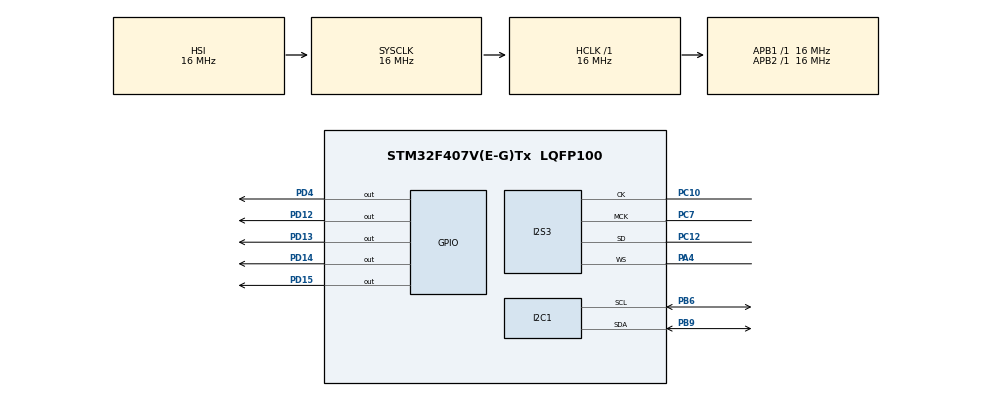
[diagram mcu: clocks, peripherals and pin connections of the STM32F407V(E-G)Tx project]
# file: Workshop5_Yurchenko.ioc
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Dma.Request0=SPI3_TX
Dma.SPI3_TX.0.Direction=DMA_MEMORY_TO_PERIPH
Dma.SPI3_TX.0.FIFOMode=DMA_FIFOMODE_ENABLE
Dma.SPI3_TX.0.FIFOThreshold=DMA_FIFO_THRESHOLD_FULL
Dma.SPI3_TX.0.Instance=DMA1_Stream5
Dma.SPI3_TX.0.MemBurst=DMA_MBURST_SINGLE
Dma.SPI3_TX.0.MemDataAlignment=DMA_MDATAALIGN_HALFWORD
Dma.SPI3_TX.0.MemInc=DMA_MINC_ENABLE
Dma.SPI3_TX.0.Mode=DMA_CIRCULAR
Dma.SPI3_TX.0.PeriphBurst=DMA_PBURST_SINGLE
Dma.SPI3_TX.0.PeriphDataAlignment=DMA_PDATAALIGN_HALFWORD
Dma.SPI3_TX.0.PeriphInc=DMA_PINC_DISABLE
Dma.SPI3_TX.0.Priority=DMA_PRIORITY_LOW
I2S3.AudioFreq=I2S_AUDIOFREQ_48K
I2S3.ErrorAudioFreq=-2.34 %
I2S3.FullDuplexMode=I2S_FULLDUPLEXMODE_DISABLE
I2S3.Instance=SPI$Index
I2S3.RealAudioFreq=46.875 KHz
I2S3.VirtualMode=I2S_MODE_MASTER
Mcu.Family=STM32F4
Mcu.Name=STM32F407V(E-G)Tx
Mcu.Package=LQFP100
NVIC.DMA1_Stream5_IRQn=true\:0\:0\:false\:false\:true\:false\:true\:true
NVIC.PriorityGroup=NVIC_PRIORITYGROUP_4
PA4.Mode=Half_Duplex_Master
PA4.Signal=I2S3_WS
PB6.Mode=I2C
PB6.Signal=I2C1_SCL
PB9.Mode=I2C
PB9.Signal=I2C1_SDA
PC10.Mode=Half_Duplex_Master
PC10.Signal=I2S3_CK
PC12.Mode=Half_Duplex_Master
PC12.Signal=I2S3_SD
PC7.Mode=Master_Clock_Activated
PC7.Signal=I2S3_MCK
PD12.Signal=GPIO_Output
PD13.Signal=GPIO_Output
PD14.Signal=GPIO_Output
PD15.Signal=GPIO_Output
PD4.Signal=GPIO_Output
ProjectManager.HeapSize=0x200
ProjectManager.StackSize=0x400
ProjectManager.TargetToolchain=STM32CubeIDE
RCC.AHBFreq_Value=16000000
RCC.APB1Freq_Value=16000000
RCC.APB2Freq_Value=16000000
RCC.CortexFreq_Value=16000000
RCC.HSE_VALUE=25000000
RCC.HSI_VALUE=16000000
RCC.LSE_VALUE=32768
RCC.SYSCLKFreq_VALUE=16000000
RCC.VCOOutputFreq_Value=192000000
board=custom

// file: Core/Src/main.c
/* USER CODE BEGIN Header */
/**
  ******************************************************************************
  * @file           : main.c
  * @brief          : Main program body
  ******************************************************************************
  * @attention
  *
  * Copyright (c) 2025 STMicroelectronics.
  * All rights reserved.
  *
  * This software is licensed under terms that can be found in the LICENSE file
  * in the root directory of this software component.
  * If no LICENSE file comes with this software, it is provided AS-IS.
  *
  ******************************************************************************
  */
  /* USER CODE END Header */
  /* Includes ------------------------------------------------------------------*/
#include "main.h"

/* USER CODE BEGIN PTD */
typedef enum
{
	C4,
	G4,
	MAX_VALUE
} soundToneType;

/* USER CODE END PTD */

/* USER CODE BEGIN PD */
#define CS43L22_I2C_ADDRESS		0x94
#define I2C_TIMEOUT				10
#define DOT_DURATION 200
#define DASH_DURATION (3 * DOT_DURATION)
#define SYMBOL_PAUSE DOT_DURATION
#define LETTER_PAUSE (3 * DOT_DURATION)
#define WORD_PAUSE (7 * DOT_DURATION)
/* USER CODE END PD */

I2C_HandleTypeDef hi2c1;

I2S_HandleTypeDef hi2s3;
DMA_HandleTypeDef hdma_spi3_tx;

/* USER CODE BEGIN PV */
int16_t dataI2S[100] = { 0 };
/* USER CODE END PV */

void SystemClock_Config(void);
static void MX_GPIO_Init(void);
static void MX_DMA_Init(void);
static void MX_I2C1_Init(void);
static void MX_I2S3_Init(void);

/* USER CODE BEGIN 0 */
void CS43L22_Init(void)
{
	// Enable chip
	HAL_GPIO_WritePin(GPIOD, GPIO_PIN_4, GPIO_PIN_SET);

	//
	// Initialization
	//
	uint8_t TxBuffer[2];

	TxBuffer[0] = 0x0D;
	TxBuffer[1] = 0x01;
	HAL_I2C_Master_Transmit(&hi2c1, CS43L22_I2C_ADDRESS, (uint8_t*)&TxBuffer, 2, I2C_TIMEOUT);

	TxBuffer[0] = 0x00;
	TxBuffer[1] = 0x99;
	HAL_I2C_Master_Transmit(&hi2c1, CS43L22_I2C_ADDRESS, (uint8_t*)&TxBuffer, 2, I2C_TIMEOUT);

	TxBuffer[0] = 0x47;
	TxBuffer[1] = 0x80;
	HAL_I2C_Master_Transmit(&hi2c1, CS43L22_I2C_ADDRESS, (uint8_t*)&TxBuffer, 2, I2C_TIMEOUT);

	TxBuffer[0] = 0x32;
	TxBuffer[1] = 0xFF;
	HAL_I2C_Master_Transmit(&hi2c1, CS43L22_I2C_ADDRESS, (uint8_t*)&TxBuffer, 2, I2C_TIMEOUT);

	TxBuffer[0] = 0x32;
	TxBuffer[1] = 0x7F;
	HAL_I2C_Master_Transmit(&hi2c1, CS43L22_I2C_ADDRESS, (uint8_t*)&TxBuffer, 2, I2C_TIMEOUT);

	TxBuffer[0] = 0x00;
	TxBuffer[1] = 0x00;
	HAL_I2C_Master_Transmit(&hi2c1, CS43L22_I2C_ADDRESS, (uint8_t*)&TxBuffer, 2, I2C_TIMEOUT);

	TxBuffer[0] = 0x04;
	TxBuffer[1] = 0xAF;
	HAL_I2C_Master_Transmit(&hi2c1, CS43L22_I2C_ADDRESS, (uint8_t*)&TxBuffer, 2, I2C_TIMEOUT);

	TxBuffer[0] = 0x0D;
	TxBuffer[1] = 0x70;
	HAL_I2C_Master_Transmit(&hi2c1, CS43L22_I2C_ADDRESS, (uint8_t*)&TxBuffer, 2, I2C_TIMEOUT);

	TxBuffer[0] = 0x05;
	TxBuffer[1] = 0x81;
	HAL_I2C_Master_Transmit(&hi2c1, CS43L22_I2C_ADDRESS, (uint8_t*)&TxBuffer, 2, I2C_TIMEOUT);

	TxBuffer[0] = 0x06;
	TxBuffer[1] = 0x07;
	HAL_I2C_Master_Transmit(&hi2c1, CS43L22_I2C_ADDRESS, (uint8_t*)&TxBuffer, 2, I2C_TIMEOUT);

	TxBuffer[0] = 0x0A;
	TxBuffer[1] = 0x00;
	HAL_I2C_Master_Transmit(&hi2c1, CS43L22_I2C_ADDRESS, (uint8_t*)&TxBuffer, 2, I2C_TIMEOUT);

	TxBuffer[0] = 0x27;
	TxBuffer[1] = 0x00;
	HAL_I2C_Master_Transmit(&hi2c1, CS43L22_I2C_ADDRESS, (uint8_t*)&TxBuffer, 2, I2C_TIMEOUT);

	TxBuffer[0] = 0x1A;
	TxBuffer[1] = 0x0A;
	HAL_I2C_Master_Transmit(&hi2c1, CS43L22_I2C_ADDRESS, (uint8_t*)&TxBuffer, 2, I2C_TIMEOUT);

	TxBuffer[0] = 0x1B;
	TxBuffer[1] = 0x0A;
	HAL_I2C_Master_Transmit(&hi2c1, CS43L22_I2C_ADDRESS, (uint8_t*)&TxBuffer, 2, I2C_TIMEOUT);

	TxBuffer[0] = 0x1F;
	TxBuffer[1] = 0x0F;
	HAL_I2C_Master_Transmit(&hi2c1, CS43L22_I2C_ADDRESS, (uint8_t*)&TxBuffer, 2, I2C_TIMEOUT);

	TxBuffer[0] = 0x02;
	TxBuffer[1] = 0x9E;
	HAL_I2C_Master_Transmit(&hi2c1, CS43L22_I2C_ADDRESS, (uint8_t*)&TxBuffer, 2, I2C_TIMEOUT);
}

void CS43L22_Beep(soundToneType pitch, uint32_t duration_ms)
{
	uint8_t TxBuffer[2];

	// Set volume and off time
	TxBuffer[0] = 0x1D;		// Register address
	TxBuffer[1] = 0x00;		// Value (volume and off time)
	HAL_I2C_Master_Transmit(&hi2c1, CS43L22_I2C_ADDRESS, (uint8_t*)&TxBuffer, 2, I2C_TIMEOUT);

	// Set sound frequency
	TxBuffer[0] = 0x1C;		// Register address
	switch (pitch)
	{
	case C4:  TxBuffer[1] = 0x10; break;
	case G4:  TxBuffer[1] = 0x50; break;
	default:  TxBuffer[1] = 0x10; break;
	}

	HAL_I2C_Master_Transmit(&hi2c1, CS43L22_I2C_ADDRESS, (uint8_t*)&TxBuffer, 2, I2C_TIMEOUT);

	// Enable continuous mode (SOUND STARTED)
	TxBuffer[0] = 0x1E;		// Register address
	TxBuffer[1] = 0xC0;		// Value (beep and tone configuration)
	HAL_I2C_Master_Transmit(&hi2c1, CS43L22_I2C_ADDRESS, (uint8_t*)&TxBuffer, 2, I2C_TIMEOUT);

	// Playing...
	HAL_Delay(duration_ms);

	// Disable continuous mode (SOUND STOPED)
	TxBuffer[0] = 0x1E;		// Register address
	TxBuffer[1] = 0x00;		// Value (beep and tone configuration)
	HAL_I2C_Master_Transmit(&hi2c1, CS43L22_I2C_ADDRESS, (uint8_t*)&TxBuffer, 2, I2C_TIMEOUT);
}
/* USER CODE END 0 */

int main(void)
{

	/* MCU Configuration--------------------------------------------------------*/

	/* Reset of all peripherals, Initializes the Flash interface and the Systick. */
	HAL_Init();

	/* Configure the system clock */
	SystemClock_Config();

	/* Initialize all configured peripherals */
	MX_GPIO_Init();
	MX_DMA_Init();
	MX_I2C1_Init();
	MX_I2S3_Init();
	/* USER CODE BEGIN 2 */

	// Init DAC
	CS43L22_Init();
	// Transmit empty data
	HAL_I2S_Transmit_DMA(&hi2s3, (uint16_t*)dataI2S, 100);
	/* USER CODE END 2 */

	/* Infinite loop */
	/* USER CODE BEGIN WHILE */
	void playDot() {
	    HAL_GPIO_WritePin(GPIOD, GPIO_PIN_12, GPIO_PIN_SET);
	    CS43L22_Beep(G4, DOT_DURATION);
	    HAL_GPIO_WritePin(GPIOD, GPIO_PIN_12, GPIO_PIN_RESET);
	    HAL_Delay(SYMBOL_PAUSE);
	}

	void playDash() {
	    HAL_GPIO_WritePin(GPIOD, GPIO_PIN_15, GPIO_PIN_SET);
	    CS43L22_Beep(C4, DASH_DURATION);
	    HAL_GPIO_WritePin(GPIOD, GPIO_PIN_15, GPIO_PIN_RESET);
	    HAL_Delay(SYMBOL_PAUSE);
	}

	void playMorseChar(const char* pattern) {
	    for (int i = 0; pattern[i] != '\0'; i++) {
	        if (pattern[i] == '.') {
	            playDot();
	        }
	        else if (pattern[i] == '-') {
	            playDash();
	        }
	    }
	    HAL_Delay(LETTER_PAUSE - SYMBOL_PAUSE);
	}

	void playMorseMessage() {
	    // H E L L O / W O R L D !
	    playMorseChar("...."); // H
	    playMorseChar(".");    // E
	    playMorseChar(".-.."); // L
	    playMorseChar(".-.."); // L
	    playMorseChar("---");  // O

	    HAL_Delay(WORD_PAUSE - LETTER_PAUSE);

	    playMorseChar(".--");  // W
	    playMorseChar("---");  // O
	    playMorseChar(".-.");  // R
	    playMorseChar(".-.."); // L
	    playMorseChar("-..");  // D
	    playMorseChar("-.-.--"); // !
	}

	while (1)
	{
		/* USER CODE END WHILE */
		playMorseMessage();
		while (1) {}
	}
}

void SystemClock_Config(void)
{
	RCC_OscInitTypeDef RCC_OscInitStruct = { 0 };
	RCC_ClkInitTypeDef RCC_ClkInitStruct = { 0 };

	/** Macro to configure the PLL multiplication factor
	*/
	__HAL_RCC_PLL_PLLM_CONFIG(16);

	/** Macro to configure the PLL clock source
	*/
	__HAL_RCC_PLL_PLLSOURCE_CONFIG(RCC_PLLSOURCE_HSI);

	/** Configure the main internal regulator output voltage
	*/
	__HAL_RCC_PWR_CLK_ENABLE();
	__HAL_PWR_VOLTAGESCALING_CONFIG(PWR_REGULATOR_VOLTAGE_SCALE1);

	/** Initializes the RCC Oscillators according to the specified parameters
	* in the RCC_OscInitTypeDef structure.
	*/
	RCC_OscInitStruct.OscillatorType = RCC_OSCILLATORTYPE_HSI;
	RCC_OscInitStruct.HSIState = RCC_HSI_ON;
	RCC_OscInitStruct.HSICalibrationValue = RCC_HSICALIBRATION_DEFAULT;
	RCC_OscInitStruct.PLL.PLLState = RCC_PLL_NONE;
	RCC_OscInitStruct.PLL.PLLSource = RCC_PLLSOURCE_HSI;
	if (HAL_RCC_OscConfig(&RCC_OscInitStruct) != HAL_OK)
	{
		Error_Handler();
	}

	/** Initializes the CPU, AHB and APB buses clocks
	*/
	RCC_ClkInitStruct.ClockType = RCC_CLOCKTYPE_HCLK | RCC_CLOCKTYPE_SYSCLK
		| RCC_CLOCKTYPE_PCLK1 | RCC_CLOCKTYPE_PCLK2;
	RCC_ClkInitStruct.SYSCLKSource = RCC_SYSCLKSOURCE_HSI;
	RCC_ClkInitStruct.AHBCLKDivider = RCC_SYSCLK_DIV1;
	RCC_ClkInitStruct.APB1CLKDivider = RCC_HCLK_DIV1;
	RCC_ClkInitStruct.APB2CLKDivider = RCC_HCLK_DIV1;

	if (HAL_RCC_ClockConfig(&RCC_ClkInitStruct, FLASH_LATENCY_0) != HAL_OK)
	{
		Error_Handler();
	}
}

static void MX_I2C1_Init(void)
{

	hi2c1.Instance = I2C1;
	hi2c1.Init.ClockSpeed = 100000;
	hi2c1.Init.DutyCycle = I2C_DUTYCYCLE_2;
	hi2c1.Init.OwnAddress1 = 0;
	hi2c1.Init.AddressingMode = I2C_ADDRESSINGMODE_7BIT;
	hi2c1.Init.DualAddressMode = I2C_DUALADDRESS_DISABLE;
	hi2c1.Init.OwnAddress2 = 0;
	hi2c1.Init.GeneralCallMode = I2C_GENERALCALL_DISABLE;
	hi2c1.Init.NoStretchMode = I2C_NOSTRETCH_DISABLE;
	if (HAL_I2C_Init(&hi2c1) != HAL_OK)
	{
		Error_Handler();
	}

}

static void MX_I2S3_Init(void)
{

	hi2s3.Instance = SPI3;
	hi2s3.Init.Mode = I2S_MODE_MASTER_TX;
	hi2s3.Init.Standard = I2S_STANDARD_PHILIPS;
	hi2s3.Init.DataFormat = I2S_DATAFORMAT_16B;
	hi2s3.Init.MCLKOutput = I2S_MCLKOUTPUT_ENABLE;
	hi2s3.Init.AudioFreq = I2S_AUDIOFREQ_48K;
	hi2s3.Init.CPOL = I2S_CPOL_LOW;
	hi2s3.Init.ClockSource = I2S_CLOCK_PLL;
	hi2s3.Init.FullDuplexMode = I2S_FULLDUPLEXMODE_DISABLE;
	if (HAL_I2S_Init(&hi2s3) != HAL_OK)
	{
		Error_Handler();
	}

}

static void MX_DMA_Init(void)
{

	/* DMA controller clock enable */
	__HAL_RCC_DMA1_CLK_ENABLE();

	/* DMA interrupt init */
	/* DMA1_Stream5_IRQn interrupt configuration */
	HAL_NVIC_SetPriority(DMA1_Stream5_IRQn, 0, 0);
	HAL_NVIC_EnableIRQ(DMA1_Stream5_IRQn);

}

static void MX_GPIO_Init(void)
{
	GPIO_InitTypeDef GPIO_InitStruct = { 0 };

	/* GPIO Ports Clock Enable */
	__HAL_RCC_GPIOA_CLK_ENABLE();
	__HAL_RCC_GPIOD_CLK_ENABLE();
	__HAL_RCC_GPIOC_CLK_ENABLE();
	__HAL_RCC_GPIOB_CLK_ENABLE();

	/*Configure GPIO pin Output Level */
	HAL_GPIO_WritePin(GPIOD, GPIO_PIN_12 | GPIO_PIN_13 | GPIO_PIN_14 | GPIO_PIN_15
		| GPIO_PIN_4, GPIO_PIN_RESET);

	/*Configure GPIO pins : PD12 PD13 PD14 PD15
							 PD4 */
	GPIO_InitStruct.Pin = GPIO_PIN_12 | GPIO_PIN_13 | GPIO_PIN_14 | GPIO_PIN_15
		| GPIO_PIN_4;
	GPIO_InitStruct.Mode = GPIO_MODE_OUTPUT_PP;
	GPIO_InitStruct.Pull = GPIO_NOPULL;
	GPIO_InitStruct.Speed = GPIO_SPEED_FREQ_LOW;
	HAL_GPIO_Init(GPIOD, &GPIO_InitStruct);

}

void Error_Handler(void)
{
	__disable_irq();
	while (1)
	{
	}
}
